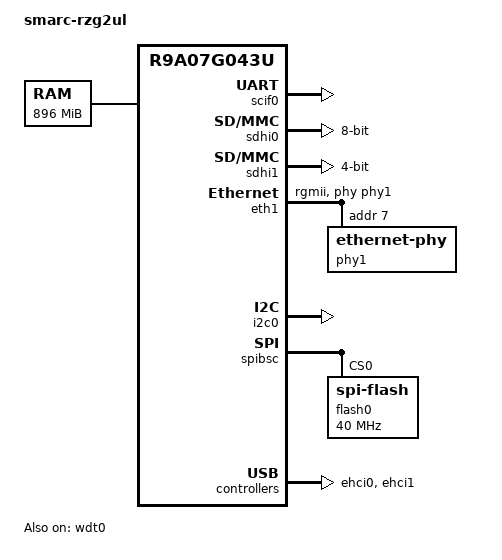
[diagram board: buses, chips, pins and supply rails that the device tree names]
// SPDX-License-Identifier: GPL-2.0
/*
 * Device Tree Source for the GR-Peach board
 *
 * Copyright (C) 2017 Jacopo Mondi <jacopo+renesas@jmondi.org>
 * Copyright (C) 2016 Renesas Electronics
 */

/dts-v1/;
#include <dt-bindings/gpio/gpio.h>
#include "r9a07g043u11.dtsi"
#include "r9a07g043u11-u-boot.dtsi"
#include <dt-bindings/pinctrl/rzg2l-pinctrl.h>

/ {
	model = "smarc-rzg2ul";
	compatible = "renesas,r9a07g043u", "renesas,rzg2ul";

	aliases {
		serial0 = &scif0;
		spi0 = &spibsc;
	};

	chosen {
		stdout-path = "serial0:115200n8";
	};

	memory@48000000 {
		device_type = "memory";
		/* first 128MB is reserved for secure area. */
		reg = <0 0x48000000 0 0x38000000>;
	};

};

&pinctrl {
	eth1_pins: eth1 {
		pinmux = <RZG2L_PINMUX(7, 0, 1)>,
				<RZG2L_PINMUX(7, 1, 1)>,
				<RZG2L_PINMUX(7, 2, 1)>,
				<RZG2L_PINMUX(7, 3, 1)>,
				<RZG2L_PINMUX(7, 4, 1)>,
				<RZG2L_PINMUX(8, 0, 1)>,
				<RZG2L_PINMUX(8, 4, 1)>,
				<RZG2L_PINMUX(9, 0, 1)>,
				<RZG2L_PINMUX(9, 1, 1)>,
				<RZG2L_PINMUX(9, 2, 1)>,
				<RZG2L_PINMUX(9, 3, 1)>,
				<RZG2L_PINMUX(10, 0, 1)>,
				<RZG2L_PINMUX(10, 2, 1)>,
				<RZG2L_PINMUX(10, 3, 1)>,
				<RZG2L_PINMUX(10, 4, 1)>;
	};
};

&xinclk {
        clock-frequency = <24000000>;
};

&scif0 {
	status = "okay";
	clock = <100000000>;
};

&sdhi0 {
	bus-width = <8>;
	status = "okay";
	/* This is used for interface that support both eMMC and SD in board */
	mutual-channel;
};

&sdhi1 {
	/* pinctrl placeholder
	 * A power enable pin (SD1_PWR_EN) must be defined to interface with a
	 * SD card.
	 * The SD1_PWR_EN pin is associated with P0_3.
	 * A HIGH signal on SD1_PWR_EN will enable supply voltage for SD card.
	*/
	bus-width = <4>;
	status = "okay";
};

&eth1 {
	pinctrl-names = "default";
	pinctrl-0 = <&eth1_pins>;
	phy-handle = <&phy1>;
	phy-mode = "rgmii";
	status = "okay";

	phy1: ethernet-phy@7 {
		reg = <7>;
	};
};

&i2c0 {
	status = "okay";
};

&spibsc {
        num-cs = <1>;
        status = "okay";
        spi-max-frequency = <40000000>;
        #address-cells = <1>;
        #size-cells = <0>;
        flash0: spi-flash@0 {
                #address-cells = <1>;
                #size-cells = <1>;
                compatible = "spi-flash", "jedec,spi-nor";
                spi-max-frequency = <40000000>;
                spi-tx-bus-width = <1>;
                spi-rx-bus-width = <1>;
                reg = <0>;
                status = "okay";
        };
};

&ehci0 {
	status = "okay";
};

&ehci1 {
	status = "okay";
};

&wdt0 {
	status = "okay";
	timeout-sec = <60>;
};
